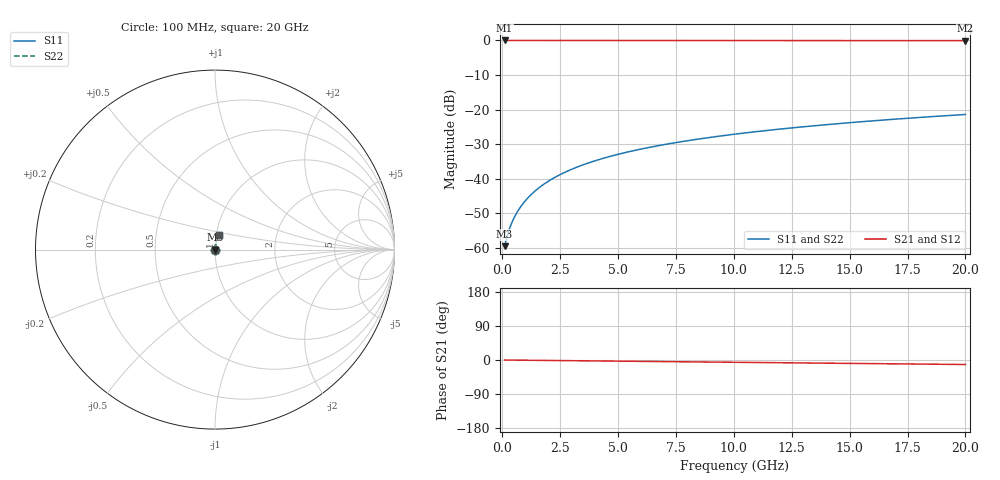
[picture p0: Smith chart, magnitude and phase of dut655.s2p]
! Touchstone file exported from HFSS 2026.1.0
!  File:  C:/ffzhzh/LocalFiles/Ansys_Project_Files/temp_train_BSMRDL_655_1783017045_4048.aedt
!  Generated:  02:32:12 AM Jul  3, 2026
!  Design:  BSMRDL
!  Project:  temp_train_BSMRDL_655_1783017045_4048
! Variables:
!  h_bsmrdl = 3.52um
!  h_ox = 20um
!  h_rdl = 5um
!  h_sub = 80um
!  h_tmrdl = 5um
!  h_tsv = 80um
!  h_via = 3um
!  l_bsmrdl = 165.77um
!  l_sub = 565.77um
!  l_tmrdl = 200um
!  m_sub = 200um
!  pitch = 39.69um
!  r_tsv = 6um
!  s_tmrdl = 10um
!  w_bsmrdl = 25.66um
!  w_sub = 500um
!  w_tmrdl = 12um
!  x_tsv_center1 = 206um
!  x_tsv_center2 = 397.43um
!  x_tsv_center3 = 609.43um
!  x_tsv_center4 = 800.86um
!  x_tsv_center5 = 1012.86um
!  x_tsv_center6 = 1204.29um
# GHz S MA R 50.000000
! Terminal data exported
! Port[1] = BSM_RDL1_1_T1
! Port[2] = BSM_RDL1_1_T2
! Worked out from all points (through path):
!   200 points, 100 MHz to 20 GHz, reference 50 ohm
!   highest |S21| = -0.01 dB at 100 MHz (marker M1); lowest = -0.1 dB at 20 GHz (marker M2)
!   group delay of S21, straight-line fit = 1.65 ps
!   lowest |S11| = -59.6 dB at 100 MHz (marker M3), VSWR 1.00, Z = 50.1 + j0.0547 ohm
!   |S11| at or under -10 dB: start of sweep to end of sweep
!   |S22| runs from -59.6 to -21.4 dB; largest |S21 - S12| = 3e-15
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0.1  0.001053 31.3  0.9991 -0.1  0.9991 -0.1  0.001053 31.3
! Gamma 0 0 0 0
! Port Impedance 50 0 50 0
0.2  0.00143 47.6  0.999 -0.1  0.999 -0.1  0.00143 47.6
0.3  0.001845 56.1  0.999 -0.2  0.999 -0.2  0.001845 56.1
0.4  0.00226 61.3  0.9989 -0.3  0.9989 -0.3  0.00226 61.3
0.5  0.002676 65.1  0.9989 -0.3  0.9989 -0.3  0.002676 65.1
0.6  0.003093 67.9  0.9989 -0.4  0.9989 -0.4  0.003093 67.9
0.8  0.003941 72.0  0.9988 -0.5  0.9988 -0.5  0.003941 72.0
1  0.004803 74.8  0.9988 -0.6  0.9988 -0.6  0.004803 74.8
1.2  0.005677 76.7  0.9987 -0.7  0.9987 -0.7  0.005677 76.7
1.4  0.006557 78.1  0.9987 -0.9  0.9987 -0.9  0.006557 78.1
1.7  0.007886 79.5  0.9987 -1.0  0.9987 -1.0  0.007886 79.5
2.2  0.01011 80.9  0.9986 -1.3  0.9986 -1.3  0.01011 80.9
2.8  0.01278 81.8  0.9985 -1.7  0.9985 -1.7  0.01278 81.8
3.5  0.01589 82.2  0.9983 -2.1  0.9983 -2.1  0.01589 82.2
4.2  0.01898 82.3  0.9981 -2.6  0.9981 -2.6  0.01898 82.3
5  0.02248 82.2  0.9979 -3.0  0.9979 -3.0  0.02248 82.2
6.8  0.03027 81.6  0.9973 -4.1  0.9973 -4.1  0.03027 81.6
8.3  0.03666 81.0  0.9968 -5.0  0.9968 -5.0  0.03666 81.0
10.1  0.04425 80.2  0.9961 -6.1  0.9961 -6.1  0.04425 80.2
13.4  0.05795 78.6  0.9949 -8.0  0.9949 -8.0  0.05795 78.6
16.7  0.07147 76.9  0.9936 -10.0  0.9936 -10.0  0.07147 76.9
20  0.08482 75.2  0.9921 -11.9  0.9921 -11.9  0.08482 75.2
